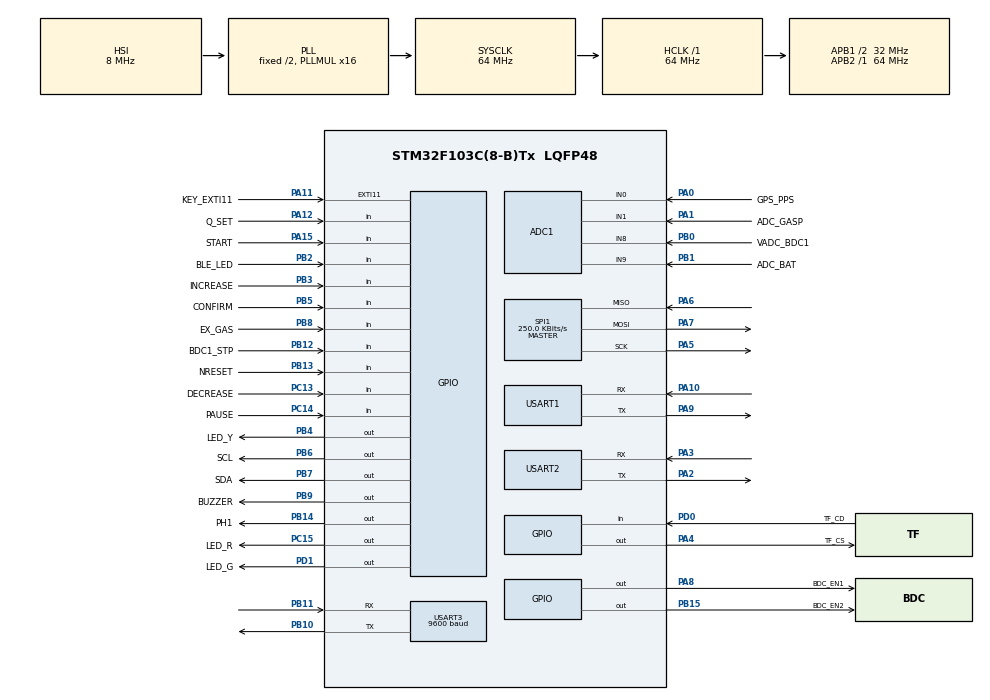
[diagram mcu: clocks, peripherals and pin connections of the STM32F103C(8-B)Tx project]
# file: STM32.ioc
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ADC1.Channel-2\#ChannelRegularConversion=ADC_CHANNEL_0
ADC1.Channel-3\#ChannelRegularConversion=ADC_CHANNEL_1
ADC1.Channel-4\#ChannelRegularConversion=ADC_CHANNEL_8
ADC1.Channel-6\#ChannelRegularConversion=ADC_CHANNEL_9
ADC1.ContinuousConvMode=ENABLE
ADC1.EnableRegularConversion=ENABLE
ADC1.ExternalTrigConv=ADC_SOFTWARE_START
ADC1.NbrOfConversion=4
ADC1.NbrOfConversionFlag=1
ADC1.Rank-2\#ChannelRegularConversion=1
ADC1.Rank-3\#ChannelRegularConversion=2
ADC1.Rank-4\#ChannelRegularConversion=3
ADC1.Rank-6\#ChannelRegularConversion=4
ADC1.SamplingTime-2\#ChannelRegularConversion=ADC_SAMPLETIME_13CYCLES_5
ADC1.SamplingTime-3\#ChannelRegularConversion=ADC_SAMPLETIME_13CYCLES_5
ADC1.SamplingTime-4\#ChannelRegularConversion=ADC_SAMPLETIME_13CYCLES_5
ADC1.SamplingTime-6\#ChannelRegularConversion=ADC_SAMPLETIME_13CYCLES_5
ADC1.master=1
Dma.ADC1.0.Direction=DMA_PERIPH_TO_MEMORY
Dma.ADC1.0.Instance=DMA1_Channel1
Dma.ADC1.0.MemDataAlignment=DMA_MDATAALIGN_HALFWORD
Dma.ADC1.0.MemInc=DMA_MINC_ENABLE
Dma.ADC1.0.Mode=DMA_CIRCULAR
Dma.ADC1.0.PeriphDataAlignment=DMA_PDATAALIGN_HALFWORD
Dma.ADC1.0.PeriphInc=DMA_PINC_DISABLE
Dma.ADC1.0.Priority=DMA_PRIORITY_LOW
Dma.Request0=ADC1
Dma.Request1=USART3_RX
Dma.USART3_RX.1.Direction=DMA_PERIPH_TO_MEMORY
Dma.USART3_RX.1.Instance=DMA1_Channel3
Dma.USART3_RX.1.MemDataAlignment=DMA_MDATAALIGN_BYTE
Dma.USART3_RX.1.MemInc=DMA_MINC_ENABLE
Dma.USART3_RX.1.Mode=DMA_NORMAL
Dma.USART3_RX.1.PeriphDataAlignment=DMA_PDATAALIGN_BYTE
Dma.USART3_RX.1.PeriphInc=DMA_PINC_DISABLE
Dma.USART3_RX.1.Priority=DMA_PRIORITY_LOW
Mcu.Family=STM32F1
Mcu.Name=STM32F103C(8-B)Tx
Mcu.Package=LQFP48
NVIC.ADC1_2_IRQn=true\:12\:0\:true\:false\:true\:true\:true\:true
NVIC.DMA1_Channel1_IRQn=true\:6\:0\:true\:false\:true\:false\:true\:true
NVIC.DMA1_Channel3_IRQn=true\:0\:0\:false\:false\:true\:false\:true\:true
NVIC.EXTI15_10_IRQn=true\:10\:0\:true\:false\:true\:true\:true\:true
NVIC.PriorityGroup=NVIC_PRIORITYGROUP_4
NVIC.TIM3_IRQn=true\:13\:0\:true\:false\:true\:true\:true\:true
NVIC.TIM4_IRQn=true\:13\:0\:true\:false\:true\:true\:true\:true
NVIC.USART2_IRQn=true\:0\:0\:false\:false\:true\:true\:true\:true
NVIC.USART3_IRQn=true\:0\:0\:false\:false\:true\:true\:true\:true
PA0-WKUP.GPIO_Label=GPS_PPS
PA0-WKUP.Signal=ADCx_IN0
PA1.GPIO_Label=ADC_GASP
PA1.Signal=ADCx_IN1
PA10.Mode=Asynchronous
PA10.Signal=USART1_RX
PA11.GPIO_Label=KEY_EXTI11
PA11.GPIO_ModeDefaultEXTI=GPIO_MODE_IT_RISING_FALLING
PA11.Signal=GPXTI11
PA12.GPIO_Label=Q_SET
PA12.Signal=GPIO_Input
PA13.Mode=Serial_Wire
PA13.Signal=SYS_JTMS-SWDIO
PA14.Mode=Serial_Wire
PA14.Signal=SYS_JTCK-SWCLK
PA15.GPIO_Label=START
PA15.Signal=GPIO_Input
PA2.Mode=Asynchronous
PA2.Signal=USART2_TX
PA3.Mode=Asynchronous
PA3.Signal=USART2_RX
PA4.GPIO_Label=TF_CS
PA4.GPIO_PuPd=GPIO_NOPULL
PA4.PinState=GPIO_PIN_SET
PA4.Signal=GPIO_Output
PA5.Mode=Full_Duplex_Master
PA5.Signal=SPI1_SCK
PA6.Mode=Full_Duplex_Master
PA6.Signal=SPI1_MISO
PA7.Mode=Full_Duplex_Master
PA7.Signal=SPI1_MOSI
PA8.GPIO_Label=BDC_EN1
PA8.GPIO_ModeDefaultOutputPP=GPIO_MODE_OUTPUT_PP
PA8.Signal=GPIO_Output
PA9.Mode=Asynchronous
PA9.Signal=USART1_TX
PB0.GPIO_Label=VADC_BDC1
PB0.Signal=ADCx_IN8
PB1.GPIO_Label=ADC_BAT
PB1.Signal=ADCx_IN9
PB10.Mode=Asynchronous
PB10.Signal=USART3_TX
PB11.Mode=Asynchronous
PB11.Signal=USART3_RX
PB12.GPIO_Label=BDC1_STP
PB12.Signal=GPIO_Input
PB13.GPIO_Label=NRESET
PB13.Signal=GPIO_Input
PB14.GPIO_Label=PH1
PB14.Signal=GPIO_Output
PB15.GPIO_Label=BDC_EN2
PB15.Signal=GPIO_Output
PB2.GPIO_Label=BLE_LED
PB2.Signal=GPIO_Input
PB3.GPIO_Label=INCREASE
PB3.GPIO_PuPd=GPIO_NOPULL
PB3.Signal=GPIO_Input
PB4.GPIO_Label=LED_Y
PB4.Signal=GPIO_Output
PB5.GPIO_Label=CONFIRM
PB5.GPIO_PuPd=GPIO_PULLDOWN
PB5.Signal=GPIO_Input
PB6.GPIO_Label=SCL
PB6.Signal=GPIO_Output
PB7.GPIO_Label=SDA
PB7.GPIO_ModeDefaultOutputPP=GPIO_MODE_OUTPUT_OD
PB7.GPIO_PuPd=GPIO_PULLUP
PB7.Signal=GPIO_Output
PB8.GPIO_Label=EX_GAS
PB8.Signal=GPIO_Input
PB9.GPIO_Label=BUZZER
PB9.Signal=GPIO_Output
PC13-TAMPER-RTC.GPIO_Label=DECREASE
PC13-TAMPER-RTC.Signal=GPIO_Input
PC14-OSC32_IN.GPIO_Label=PAUSE
PC14-OSC32_IN.Signal=GPIO_Input
PC15-OSC32_OUT.GPIO_Label=LED_R
PC15-OSC32_OUT.Signal=GPIO_Output
PD0-OSC_IN.GPIO_Label=TF_CD
PD0-OSC_IN.GPIO_PuPd=GPIO_PULLUP
PD0-OSC_IN.Signal=GPIO_Input
PD1-OSC_OUT.GPIO_Label=LED_G
PD1-OSC_OUT.GPIO_ModeDefaultOutputPP=GPIO_MODE_OUTPUT_PP
PD1-OSC_OUT.GPIO_PuPd=GPIO_PULLUP
PD1-OSC_OUT.Signal=GPIO_Output
ProjectManager.HeapSize=0x1000
ProjectManager.StackSize=0x400
ProjectManager.TargetToolchain=STM32CubeIDE
RCC.ADCPresc=RCC_ADCPCLK2_DIV8
RCC.AHBFreq_Value=64000000
RCC.APB1CLKDivider=RCC_HCLK_DIV2
RCC.APB1Freq_Value=32000000
RCC.APB1TimFreq_Value=64000000
RCC.APB2Freq_Value=64000000
RCC.APB2TimFreq_Value=64000000
RCC.HCLKFreq_Value=64000000
RCC.PLLMUL=RCC_PLL_MUL16
RCC.SYSCLKFreq_VALUE=64000000
RCC.SYSCLKSource=RCC_SYSCLKSOURCE_PLLCLK
RCC.USBFreq_Value=64000000
SH.ADCx_IN0.0=ADC1_IN0,IN0
SH.ADCx_IN1.0=ADC1_IN1,IN1
SH.ADCx_IN8.0=ADC1_IN8,IN8
SH.ADCx_IN9.0=ADC1_IN9,IN9
SPI1.BaudRatePrescaler=SPI_BAUDRATEPRESCALER_256
SPI1.CalculateBaudRate=250.0 KBits/s
SPI1.Direction=SPI_DIRECTION_2LINES
SPI1.Mode=SPI_MODE_MASTER
SPI1.VirtualType=VM_MASTER
TIM3.AutoReloadPreload=TIM_AUTORELOAD_PRELOAD_ENABLE
TIM3.Period=1000-1
TIM3.Prescaler=6400-1
TIM4.AutoReloadPreload=TIM_AUTORELOAD_PRELOAD_ENABLE
TIM4.Period=1000-1
TIM4.Prescaler=64-1
USART1.VirtualMode=VM_ASYNC
USART2.VirtualMode=VM_ASYNC
USART3.BaudRate=9600
USART3.VirtualMode=VM_ASYNC
VP_TIM3_VS_ClockSourceINT.Mode=Internal
VP_TIM4_VS_ClockSourceINT.Mode=Internal
board=custom

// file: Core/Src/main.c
/* USER CODE BEGIN Header */
/**
  ******************************************************************************
  * @file           : main.c
  * @brief          : Main program body
  ******************************************************************************
  * @attention
  *
  * Copyright (c) 2024 STMicroelectronics.
  * All rights reserved.
  *
  * This software is licensed under terms that can be found in the LICENSE file
  * in the root directory of this software component.
  * If no LICENSE file comes with this software, it is provided AS-IS.
  *
  ******************************************************************************
  */
/* USER CODE END Header */
#include "main.h"
#include "adc.h"
#include "dma.h"
#include "spi.h"
#include "tim.h"
#include "usart.h"
#include "gpio.h"

/* USER CODE BEGIN Includes */
#include "stdio.h"
#include "string.h"
#include "key.h"
#include "motor.h"
#include "AD24C02.h"
#include "GPS.h"
#include "ff.h"
#include "SD_APP.h"
#include "battery_show.h"
#include "dosage.h"
#include "HMI.h"
/* USER CODE END Includes */

/* USER CODE BEGIN PV */

extern uint8_t _estack, _Min_Stack_Size;
/* USER CODE END PV */

void SystemClock_Config(void);

int main(void)
{

  /* MCU Configuration--------------------------------------------------------*/

  /* Reset of all peripherals, Initializes the Flash interface and the Systick. */
  HAL_Init();

  /* Configure the system clock */
  SystemClock_Config();

  /* Initialize all configured peripherals */
  MX_GPIO_Init();
  MX_DMA_Init();
  MX_ADC1_Init();
  MX_USART1_UART_Init();
  MX_TIM4_Init();
  MX_TIM3_Init();
  MX_SPI1_Init();
  MX_USART2_UART_Init();
  MX_USART3_UART_Init();
  /* USER CODE BEGIN 2 */
  HAL_ADCEx_Calibration_Start(&hadc1);
	HAL_ADC_Start_DMA(&hadc1,(uint32_t*)ADC_rslt, 4);
	__HAL_DMA_DISABLE_IT(&hdma_adc1, DMA_IT_HT);
  HAL_Delay(10);

  HAL_TIM_Base_Start_IT(&htim3);
  HAL_TIM_Base_Start_IT(&htim4);
  HAL_Delay(10);

  HMI_init();
	HAL_Delay(100);

  Motor_init();
  first_run_clcDos = 1;
  first_run = 1;

	READOUT_SAVE_DATA();
	AD24C02_DataCheck();
	HAL_Delay(10);

	page_location = Main_page;
  HAL_UART_Receive_DMA(&huart3, &gps_rx_buffer[0], 1); // 启动接收
  SDCard_states = SDCard_InsertCheck();
  if(SDCard_states == 0){
    CSV_sheet_Init();
  }else{
  	printf("CSV file initialization failed!\r\n");
  }

  AD24C02_Read2Byte(CSV_LAST_LINE_ADDRESS, &csv_crt_line_No);//读取最后一次保存的行号
  printf("System Initialized\r\n");
  /* USER CODE END 2 */

  /* Infinite loop */
  /* USER CODE BEGIN WHILE */
  while (1)
  {
  	static uint16_t i = 0;
  	if(i++ >=10000){
			if(SDCard_states != 0 || !SD_INSERT){
				SDCard_states = SDCard_InsertCheck();
				HAL_GPIO_WritePin(LED_Y_GPIO_Port, LED_Y_Pin, GPIO_PIN_SET);
			}
			else if(SDCard_states == 0){
				HAL_GPIO_WritePin(LED_Y_GPIO_Port, LED_Y_Pin, GPIO_PIN_RESET);
			}
			i = 0;
  	}

//    HAL_Delay(1000);
//  	if (uart2_idle_flag) {  // 接收到完整字符串
//  		uart2_idle_flag = 0;
//  	  // 回显接收到的数据
//  	  HAL_UART_Transmit(&huart2, rx2_buffer, uart2_received_len, 100);
//  	  HAL_UART_Transmit(&huart1, rx2_buffer, uart2_received_len, 100);
//
//  	  // 清空缓冲区（可选）
//  	  memset(rx2_buffer, 0, RX_BUFFER_SIZE);
//  	}
//
  	sprintf(Tx_Buffer,"蓝牙发送测试...\r\n");
  	USART2_Tx_BLEdata(Tx_Buffer);
  	HAL_Delay(1000);

  	if(Injecting && (page_location == Main_page)){
			sprintf(Tx_Buffer,"Main.t0.txt=\"正在注药\"\xff\xff\xff");
			USART1_Tx_HMIdata((uint8_t*)Tx_Buffer);

			if(first_run_clcDos == 1){
				Inject_times(Dosage_load);
				first_run_clcDos = 0;
			}
			Inject_working();
		}
		else
		if(!Injecting && EX_GAS_start && (page_location == Main_page)){
				while(!Injecting && EX_GAS_start)
					Ex_GAS_Cycle();
		}
		else
		if(!Injecting && (page_location == File_M_page)){
			if(refresh_dir || first_display_dir){
				Cache_File_List();
				Refresh_Display();
				scroll_focus_line();
				first_display_dir = 0;
				refresh_dir = 0;
			}

			switch(key_code){
				case KEY_CANCEL:
					Back_to_MainPage();
					break;
				case KEY_CONFIRM:
					page_turning();
					break;
				case KEY_DELETE:
					On_Delete_Key_Pressed();
					break;
				case KEY_SENDFILE:

					break;
				default:
					break;
			}
			key_code = KEY_NULL;

//			if(focus_key_pressed){
//				focus_key_pressed = 0;
//				On_Key_Pressed(key_code);
//			}

			if(dir_display_refresh){
				scroll_focus_line();
				dir_display_refresh = 0;
			}
		}
		else
		if(page_location == Main_page)
		{
			Set_Dosage();
		}

		if(clear_counter && (page_location == Main_page)){
			clear_counter = 0;
			Refresh_Dosage();
			HAL_GPIO_WritePin(LED_R_GPIO_Port, LED_R_Pin,GPIO_PIN_SET);
			HAL_Delay(300);
			HAL_GPIO_WritePin(LED_R_GPIO_Port, LED_R_Pin,GPIO_PIN_RESET);
		}
    /* USER CODE END WHILE */

  }
}

void SystemClock_Config(void)
{
  RCC_OscInitTypeDef RCC_OscInitStruct = {0};
  RCC_ClkInitTypeDef RCC_ClkInitStruct = {0};
  RCC_PeriphCLKInitTypeDef PeriphClkInit = {0};

  /** Initializes the RCC Oscillators according to the specified parameters
  * in the RCC_OscInitTypeDef structure.
  */
  RCC_OscInitStruct.OscillatorType = RCC_OSCILLATORTYPE_HSI;
  RCC_OscInitStruct.HSIState = RCC_HSI_ON;
  RCC_OscInitStruct.HSICalibrationValue = RCC_HSICALIBRATION_DEFAULT;
  RCC_OscInitStruct.PLL.PLLState = RCC_PLL_ON;
  RCC_OscInitStruct.PLL.PLLSource = RCC_PLLSOURCE_HSI_DIV2;
  RCC_OscInitStruct.PLL.PLLMUL = RCC_PLL_MUL16;
  if (HAL_RCC_OscConfig(&RCC_OscInitStruct) != HAL_OK)
  {
    Error_Handler();
  }

  /** Initializes the CPU, AHB and APB buses clocks
  */
  RCC_ClkInitStruct.ClockType = RCC_CLOCKTYPE_HCLK|RCC_CLOCKTYPE_SYSCLK
                              |RCC_CLOCKTYPE_PCLK1|RCC_CLOCKTYPE_PCLK2;
  RCC_ClkInitStruct.SYSCLKSource = RCC_SYSCLKSOURCE_PLLCLK;
  RCC_ClkInitStruct.AHBCLKDivider = RCC_SYSCLK_DIV1;
  RCC_ClkInitStruct.APB1CLKDivider = RCC_HCLK_DIV2;
  RCC_ClkInitStruct.APB2CLKDivider = RCC_HCLK_DIV1;

  if (HAL_RCC_ClockConfig(&RCC_ClkInitStruct, FLASH_LATENCY_2) != HAL_OK)
  {
    Error_Handler();
  }
  PeriphClkInit.PeriphClockSelection = RCC_PERIPHCLK_ADC;
  PeriphClkInit.AdcClockSelection = RCC_ADCPCLK2_DIV8;
  if (HAL_RCCEx_PeriphCLKConfig(&PeriphClkInit) != HAL_OK)
  {
    Error_Handler();
  }
}

void Error_Handler(void)
{
  __disable_irq();
  while (1)
  {
  }
}
